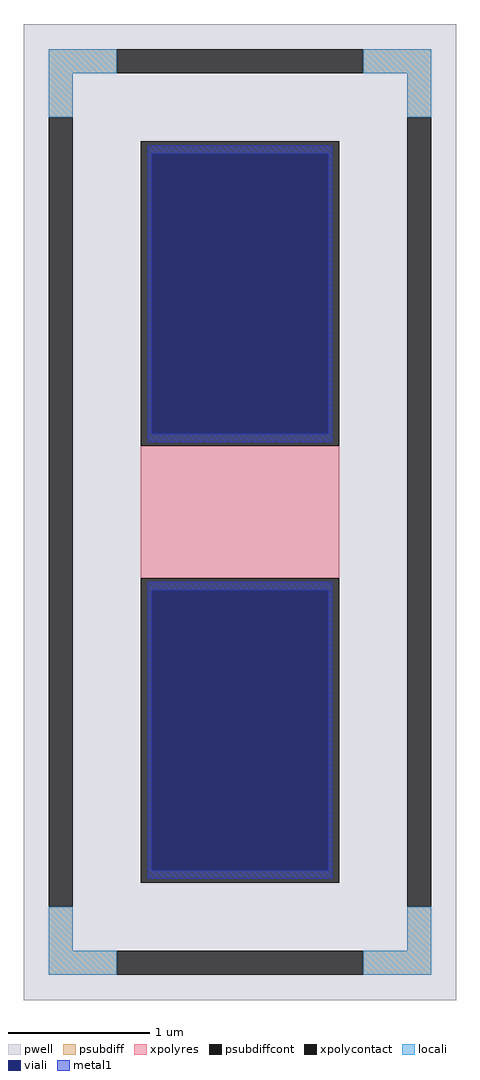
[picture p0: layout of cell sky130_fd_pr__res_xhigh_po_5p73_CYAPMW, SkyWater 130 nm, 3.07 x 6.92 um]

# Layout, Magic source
magic
tech sky130A
magscale 1 2
<< pwell >>
rect -307 -692 307 692
<< psubdiff >>
rect -271 622 -175 656
rect 175 622 271 656
rect -271 560 -237 622
rect 237 560 271 622
rect -271 -622 -237 -560
rect 237 -622 271 -560
rect -271 -656 -175 -622
rect 175 -656 271 -622
<< psubdiffcont >>
rect -175 622 175 656
rect -271 -560 -237 560
rect 237 -560 271 560
rect -175 -656 175 -622
<< xpolycontact >>
rect -141 94 141 526
rect -141 -526 141 -94
<< xpolyres >>
rect -141 -94 141 94
<< locali >>
rect -271 622 -175 656
rect 175 622 271 656
rect -271 560 -237 622
rect 237 560 271 622
rect -271 -622 -237 -560
rect 237 -622 271 -560
rect -271 -656 -175 -622
rect 175 -656 271 -622
<< viali >>
rect -125 111 125 508
rect -125 -508 125 -111
<< metal1 >>
rect -131 508 131 520
rect -131 111 -125 508
rect 125 111 131 508
rect -131 99 131 111
rect -131 -111 131 -99
rect -131 -508 -125 -111
rect 125 -508 131 -111
rect -131 -520 131 -508
<< properties >>
string FIXED_BBOX -254 -639 254 639
string gencell sky130_fd_pr__res_xhigh_po_5p73
string library sky130
string parameters w 1.410 l 1.1 m 1 nx 1 wmin 1.410 lmin 0.50 rho 2000 val 1.827k dummy 0 dw 0.0 term 188.2 sterm 0.0 caplen 0 wmax 1.410 guard 1 glc 1 grc 1 gtc 1 gbc 1 compatible {sky130_fd_pr__res_xhigh_po_0p35  sky130_fd_pr__res_xhigh_po_0p69 sky130_fd_pr__res_xhigh_po_1p41  sky130_fd_pr__res_xhigh_po_2p85 sky130_fd_pr__res_xhigh_po_5p73} snake 0 full_metal 1 n_guard 0 hv_guard 0 vias 1 viagb 0 viagt 0 viagl 0 viagr 0
<< end >>
